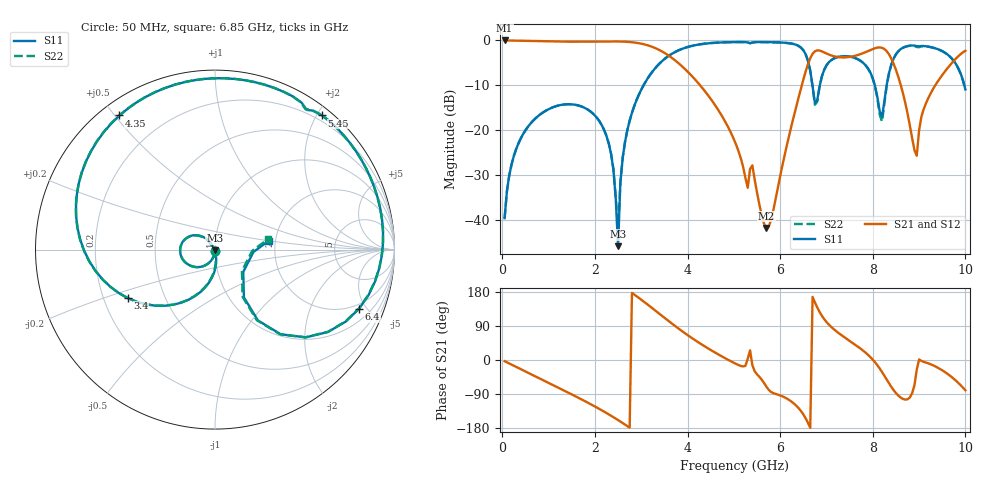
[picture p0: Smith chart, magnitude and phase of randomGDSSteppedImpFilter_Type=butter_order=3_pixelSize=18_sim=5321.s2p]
! freq	dB(S11)	phase(S11)	dB(S12)	phase(S12)
!  dB(S21)	phase(S21)	dB(S22)	phase(S22)
!S-par simulation data
#  GHz  S  DB  R 50
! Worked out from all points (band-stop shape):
!   200 points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, 50 MHz to 10 GHz, reference 50 ohm
!   highest |S21| = 0.00 dB at 50 MHz (marker M1); lowest = -41.8 dB at 5.7 GHz (marker M2)
!   |S21| within 3 dB of the highest: start of sweep to 3.538 GHz; 7.748 GHz to 8.344 GHz (596.4 MHz wide, 7.41 % of centre) (the widest 2 of 4)
!   lowest |S11| = -45.9 dB at 2.5 GHz (marker M3), VSWR 1.01, Z = 49.8 - j0.468 ohm
!   |S11| at or under -10 dB: start of sweep to 3.05 GHz; 6.698 GHz to 6.857 GHz (158.8 MHz wide, 2.34 % of centre); 8.045 GHz to 8.299 GHz (254.7 MHz wide, 3.12 % of centre) (the widest 3 of 4)
!   |S22| runs from -42.5 to -0.4 dB; largest |S21 - S12| = 0
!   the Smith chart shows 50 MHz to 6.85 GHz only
!   S11 on the Smith chart (normalised r, x): 50 MHz: 1.00, -0.02; 3.4 GHz: 0.30, -0.24; 4.35 GHz: 0.05, +0.51; 5.45 GHz: 0.12, +2.07; 6.4 GHz: 1.68, -4.47; 6.85 GHz: 1.85, +0.21
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0.05  -39.61 -92.6  -0.00 -3.1  -0.00 -3.1  -39.61 -92.6
0.55  -19.30 -123.7  -0.10 -33.3  -0.10 -33.3  -19.30 -123.6
1.75  -14.88 162.9  -0.28 -106.4  -0.28 -106.4  -14.88 163.6
2.3  -23.02 127.5  -0.22 -143.5  -0.22 -143.5  -22.99 129.9
2.5  -45.86 -112.7  -0.23 -158.5  -0.23 -158.5  -42.52 -129.8
2.55  -31.72 -82.0  -0.24 -162.4  -0.24 -162.4  -31.51 -88.5
2.7  -20.01 -88.3  -0.31 -174.5  -0.31 -174.5  -19.99 -90.0
3.4  -5.10 -151.0  -2.18 121.2  -2.18 121.2  -5.09 -150.9
4.35  -0.75 125.5  -10.98 37.6  -10.98 37.6  -0.75 125.9
5.05  -0.36 76.2  -23.27 -10.4  -23.27 -10.4  -0.36 76.7
5.45  -0.39 51.4  -31.02 -29.7  -31.02 -29.7  -0.39 51.9
5.7  -0.38 34.8  -41.81 -69.7  -41.81 -69.7  -0.38 35.3
6.4  -1.23 -22.3  -12.64 -127.3  -12.64 -127.3  -1.24 -22.2
6.7  -10.15 -58.8  -2.98 166.5  -2.98 166.5  -10.32 -59.7
6.85  -10.30 9.5  -2.25 127.1  -2.25 127.1  -10.42 11.2
7.25  -3.67 -19.1  -3.71 72.2  -3.71 72.2  -3.68 -18.6
7.95  -7.20 -72.6  -2.13 7.4  -2.13 7.4  -7.25 -73.5
8.2  -17.01 -26.0  -1.64 -31.7  -1.64 -31.7  -18.07 -24.1
8.35  -7.28 3.4  -3.09 -61.4  -3.09 -61.4  -7.39 6.1
8.95  -1.27 -63.7  -25.69 -25.3  -25.69 -25.3  -1.46 -63.3
9.2  -1.37 -81.1  -12.82 -8.8  -12.82 -8.8  -1.39 -80.0
10  -10.91 -140.3  -2.29 -79.8  -2.29 -79.8  -11.05 -141.2
